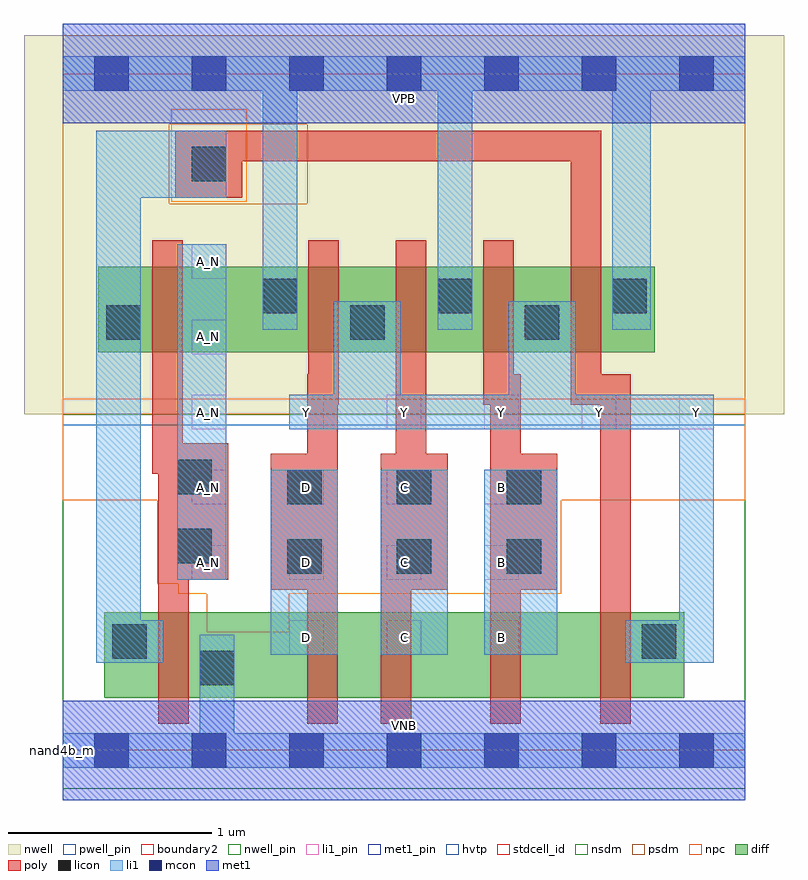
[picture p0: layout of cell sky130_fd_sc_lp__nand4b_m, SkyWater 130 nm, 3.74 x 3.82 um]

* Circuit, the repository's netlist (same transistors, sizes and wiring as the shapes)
* Copyright 2020 The SkyWater PDK Authors
*
* Licensed under the Apache License, Version 2.0 (the "License");
* you may not use this file except in compliance with the License.
* You may obtain a copy of the License at
*
*     https://www.apache.org/licenses/LICENSE-2.0
*
* Unless required by applicable law or agreed to in writing, software
* distributed under the License is distributed on an "AS IS" BASIS,
* WITHOUT WARRANTIES OR CONDITIONS OF ANY KIND, either express or implied.
* See the License for the specific language governing permissions and
* limitations under the License.
*
* SPDX-License-Identifier: Apache-2.0

.SUBCKT sky130_fd_sc_lp__nand4b_m A_N B C D VGND VNB VPB VPWR Y
*.PININFO A_N:I B:I C:I D:I VGND:I VNB:I VPB:I VPWR:I Y:O
MMP0 Y A VPWR VPB sky130_fd_pr__pfet_01v8_hvt m=1 w=0.42U l=0.15U mult=1 sa=0.265
+ sb=0.265 sd=0.28 area=0.063 perim=1.14
MMP1 Y B VPWR VPB sky130_fd_pr__pfet_01v8_hvt m=1 w=0.42U l=0.15U mult=1 sa=0.265
+ sb=0.265 sd=0.28 area=0.063 perim=1.14
MMP2 Y C VPWR VPB sky130_fd_pr__pfet_01v8_hvt m=1 w=0.42U l=0.15U mult=1 sa=0.265
+ sb=0.265 sd=0.28 area=0.063 perim=1.14
MMP3 Y D VPWR VPB sky130_fd_pr__pfet_01v8_hvt m=1 w=0.42U l=0.15U mult=1 sa=0.265
+ sb=0.265 sd=0.28 area=0.063 perim=1.14
MMIP0 A A_N VPWR VPB sky130_fd_pr__pfet_01v8_hvt m=1 w=0.42U l=0.15U mult=1 sa=0.265
+ sb=0.265 sd=0.28 area=0.063 perim=1.14
MMN0 Y A sndA VNB sky130_fd_pr__nfet_01v8 m=1 w=0.42U l=0.15U mult=1 sa=0.265 sb=0.265
+ sd=0.28 area=0.063 perim=1.14
MMN1 sndA B sndB VNB sky130_fd_pr__nfet_01v8 m=1 w=0.42U l=0.15U mult=1 sa=0.265
+ sb=0.265 sd=0.28 area=0.063 perim=1.14
MMN2 sndB C sndC VNB sky130_fd_pr__nfet_01v8 m=1 w=0.42U l=0.15U mult=1 sa=0.265
+ sb=0.265 sd=0.28 area=0.063 perim=1.14
MMN3 sndC D VGND VNB sky130_fd_pr__nfet_01v8 m=1 w=0.42U l=0.15U mult=1 sa=0.265
+ sb=0.265 sd=0.28 area=0.063 perim=1.14
MMIN0 A A_N VGND VNB sky130_fd_pr__nfet_01v8 m=1 w=0.42U l=0.15U mult=1 sa=0.265
+ sb=0.265 sd=0.28 area=0.063 perim=1.14
.ENDS sky130_fd_sc_lp__nand4b_m

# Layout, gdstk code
import gdstk
lib = gdstk.Library(unit=1e-6, precision=1e-09)
def R(c, l, rs):  # rectangles x0, y0, x1, y1
    for r in rs: c.add(gdstk.rectangle(r[:2], r[2:], *l))
def A(c, l, x, y, w, h, nx, ny, dx, dy):  # array of equal rectangles
    R(c, l, [(x+i*dx, y+j*dy, x+i*dx+w, y+j*dy+h) for i in range(nx) for j in range(ny)])
def P(c, l, *ps):  # polygons
    for p in ps: c.add(gdstk.Polygon(p, *l))
nwell_pin = (64, 16)
nwell = (64, 20)
diff = (65, 20)
poly = (66, 20)
licon = (66, 44)
li1_pin = (67, 16)
li1 = (67, 20)
mcon = (67, 44)
met1_pin = (68, 16)
met1 = (68, 20)
hvtp = (78, 44)
stdcell_id = (81, 4)
nsdm = (93, 44)
psdm = (94, 20)
npc = (95, 20)
pwell_pin = (122, 16)
boundary2 = (236, 0)

sky130_fd_sc_lp__nand4b_ = lib.new_cell('sky130_fd_sc_lp__nand4b_m')
R(sky130_fd_sc_lp__nand4b_, nwell_pin, [(0,3.085,3.36,3.33)])
R(sky130_fd_sc_lp__nand4b_, nwell, [(-0.19,1.655,3.55,3.52)])
R(sky130_fd_sc_lp__nand4b_, diff, [(0.205,0.26,3.06,0.68), (0.175,1.96,2.915,2.38)])
P(sky130_fd_sc_lp__nand4b_, poly, [(0.815,1.51),(0.59,1.51),(0.59,2.51),(0.44,2.51),(0.44,1.36),(0.47,1.36),(0.47,0.13),(0.62,0.13),(0.62,0.84),(0.815,0.84)],
  [(1.36,2.51),(1.21,2.51),(1.21,1.85),(1.205,1.85),(1.205,1.46),(1.025,1.46),(1.025,0.79),(1.205,0.79),(1.205,0.13),(1.355,0.13),(1.355,1.7),(1.36,1.7)],
  [(1.895,1.46),(1.79,1.46),(1.79,2.51),(1.64,2.51),(1.64,1.46),(1.565,1.46),(1.565,0.13),(1.715,0.13),(1.715,0.79),(1.895,0.79)],
  [(2.435,1.46),(2.255,1.46),(2.255,1.85),(2.22,1.85),(2.22,2.51),(2.07,2.51),(2.07,1.7),(2.105,1.7),(2.105,0.13),(2.255,0.13),(2.255,0.79),(2.435,0.79)],
  [(2.795,1.85),(2.65,1.85),(2.65,3.05),(0.555,3.05),(0.555,2.72),(0.885,2.72),(0.885,2.9),(2.5,2.9),(2.5,1.7),(2.645,1.7),(2.645,0.13),(2.795,0.13)])
A(sky130_fd_sc_lp__nand4b_, licon, 1.105, 0.87, 0.17, 0.17, 3, 2, 0.54, 0.34)
A(sky130_fd_sc_lp__nand4b_, licon, 0.985, 2.15, 0.17, 0.17, 3, 1, 0.86, 0)
R(sky130_fd_sc_lp__nand4b_, licon, [(0.675,0.32,0.845,0.49), (0.245,0.45,0.415,0.62), (2.85,0.45,3.02,0.62), (0.565,0.92,0.735,1.09), (0.565,1.26,0.735,1.43), (0.215,2.02,0.385,2.19), (1.415,2.02,1.585,2.19), (2.275,2.02,2.445,2.19), (0.635,2.8,0.805,2.97)])
A(sky130_fd_sc_lp__nand4b_, li1_pin, 1.115, 0.47, 0.17, 0.17, 3, 1, 0.48, 0)
A(sky130_fd_sc_lp__nand4b_, li1_pin, 0.635, 0.84, 0.17, 0.17, 4, 2, 0.48, 0.37)
A(sky130_fd_sc_lp__nand4b_, li1_pin, 0.635, 1.58, 0.17, 0.17, 6, 1, 0.48, 0)
R(sky130_fd_sc_lp__nand4b_, li1_pin, [(0.635,1.95,0.805,2.12), (0.635,2.32,0.805,2.49)])
R(sky130_fd_sc_lp__nand4b_, li1, [(1.025,0.47,1.355,1.38), (1.565,0.47,1.895,1.38), (2.075,0.47,2.435,1.38), (0.565,0.84,0.805,2.49)])
P(sky130_fd_sc_lp__nand4b_, li1, [(0.985,2.07),(0.985,3.245),(0,3.245),(0,3.415),(3.36,3.415),(3.36,3.245),(2.895,3.245),(2.895,2.07),(2.705,2.07),(2.705,3.245),(2.015,3.245),(2.015,2.07),(1.845,2.07),(1.845,3.245),(1.155,3.245),(1.155,2.07)],
  [(0.675,0.085),(0.675,0.57),(0.845,0.57),(0.845,0.085),(3.36,0.085),(3.36,-0.085),(0,-0.085),(0,0.085)],
  [(3.035,0.64),(3.035,1.58),(1.115,1.58),(1.115,1.75),(1.335,1.75),(1.335,2.21),(1.665,2.21),(1.665,1.75),(2.195,1.75),(2.195,2.21),(2.525,2.21),(2.525,1.75),(3.205,1.75),(3.205,0.43),(2.77,0.43),(2.77,0.64)],
  [(0.165,3.05),(0.805,3.05),(0.805,2.72),(0.385,2.72),(0.385,0.64),(0.495,0.64),(0.495,0.43),(0.165,0.43)])
A(sky130_fd_sc_lp__nand4b_, mcon, 0.155, -0.085, 0.17, 0.17, 7, 2, 0.48, 3.33)
R(sky130_fd_sc_lp__nand4b_, met1_pin, [(0,0,3.36,0.245), (0,3.085,3.36,3.33)])
R(sky130_fd_sc_lp__nand4b_, met1, [(0,-0.245,3.36,0.245), (0,3.085,3.36,3.575)])
R(sky130_fd_sc_lp__nand4b_, hvtp, [(0,1.6,3.36,3.33)])
R(sky130_fd_sc_lp__nand4b_, stdcell_id, [(0,0,3.36,3.33)])
R(sky130_fd_sc_lp__nand4b_, nsdm, [(0,-0.19,3.36,1.655)])
P(sky130_fd_sc_lp__nand4b_, psdm, [(3.36,3.52),(1.205,3.52),(1.205,2.69),(0.525,2.69),(0.525,3.08),(1.205,3.08),(1.205,3.52),(0,3.52),(0,1.655),(3.36,1.655)])
R(sky130_fd_sc_lp__nand4b_, npc, [(0.535,2.7,0.905,3.155)])
P(sky130_fd_sc_lp__nand4b_, npc, [(3.36,1.73),(0,1.73),(0,1.23),(0.465,1.23),(0.465,0.82),(0.57,0.82),(0.57,0.77),(0.71,0.77),(0.71,0.58),(1.115,0.58),(1.115,0.77),(2.455,0.77),(2.455,1.23),(3.36,1.23)])
R(sky130_fd_sc_lp__nand4b_, pwell_pin, [(0,0,3.36,0.245)])
R(sky130_fd_sc_lp__nand4b_, boundary2, [(0,0,3.36,3.33)])
sky130_fd_sc_lp__nand4b_.add(gdstk.Label('VNB', (1.68,0.123), layer=64, texttype=59))
sky130_fd_sc_lp__nand4b_.add(gdstk.Label('VPB', (1.68,3.208), layer=64, texttype=5))
sky130_fd_sc_lp__nand4b_.add(gdstk.Label('nand4b_m', (0,0), layer=83, texttype=44))
sky130_fd_sc_lp__nand4b_.add(gdstk.Label('VPWR', (1.68,3.208), layer=68, texttype=5))
sky130_fd_sc_lp__nand4b_.add(gdstk.Label('VGND', (1.68,0.123), layer=68, texttype=5))
sky130_fd_sc_lp__nand4b_.add(gdstk.Label('Y', (1.2,1.665), layer=67, texttype=5))
sky130_fd_sc_lp__nand4b_.add(gdstk.Label('Y', (1.68,1.665), layer=67, texttype=5))
sky130_fd_sc_lp__nand4b_.add(gdstk.Label('Y', (2.16,1.665), layer=67, texttype=5))
sky130_fd_sc_lp__nand4b_.add(gdstk.Label('Y', (2.64,1.665), layer=67, texttype=5))
sky130_fd_sc_lp__nand4b_.add(gdstk.Label('Y', (3.12,1.665), layer=67, texttype=5))
sky130_fd_sc_lp__nand4b_.add(gdstk.Label('B', (2.16,0.555), layer=67, texttype=5))
sky130_fd_sc_lp__nand4b_.add(gdstk.Label('B', (2.16,0.925), layer=67, texttype=5))
sky130_fd_sc_lp__nand4b_.add(gdstk.Label('B', (2.16,1.295), layer=67, texttype=5))
sky130_fd_sc_lp__nand4b_.add(gdstk.Label('C', (1.68,0.555), layer=67, texttype=5))
sky130_fd_sc_lp__nand4b_.add(gdstk.Label('C', (1.68,0.925), layer=67, texttype=5))
sky130_fd_sc_lp__nand4b_.add(gdstk.Label('C', (1.68,1.295), layer=67, texttype=5))
sky130_fd_sc_lp__nand4b_.add(gdstk.Label('D', (1.2,0.555), layer=67, texttype=5))
sky130_fd_sc_lp__nand4b_.add(gdstk.Label('D', (1.2,0.925), layer=67, texttype=5))
sky130_fd_sc_lp__nand4b_.add(gdstk.Label('D', (1.2,1.295), layer=67, texttype=5))
sky130_fd_sc_lp__nand4b_.add(gdstk.Label('A_N', (0.72,0.925), layer=67, texttype=5))
sky130_fd_sc_lp__nand4b_.add(gdstk.Label('A_N', (0.72,1.295), layer=67, texttype=5))
sky130_fd_sc_lp__nand4b_.add(gdstk.Label('A_N', (0.72,1.665), layer=67, texttype=5))
sky130_fd_sc_lp__nand4b_.add(gdstk.Label('A_N', (0.72,2.035), layer=67, texttype=5))
sky130_fd_sc_lp__nand4b_.add(gdstk.Label('A_N', (0.72,2.405), layer=67, texttype=5))

lib.write_gds('sky130_fd_sc_lp__nand4b_m.gds')
